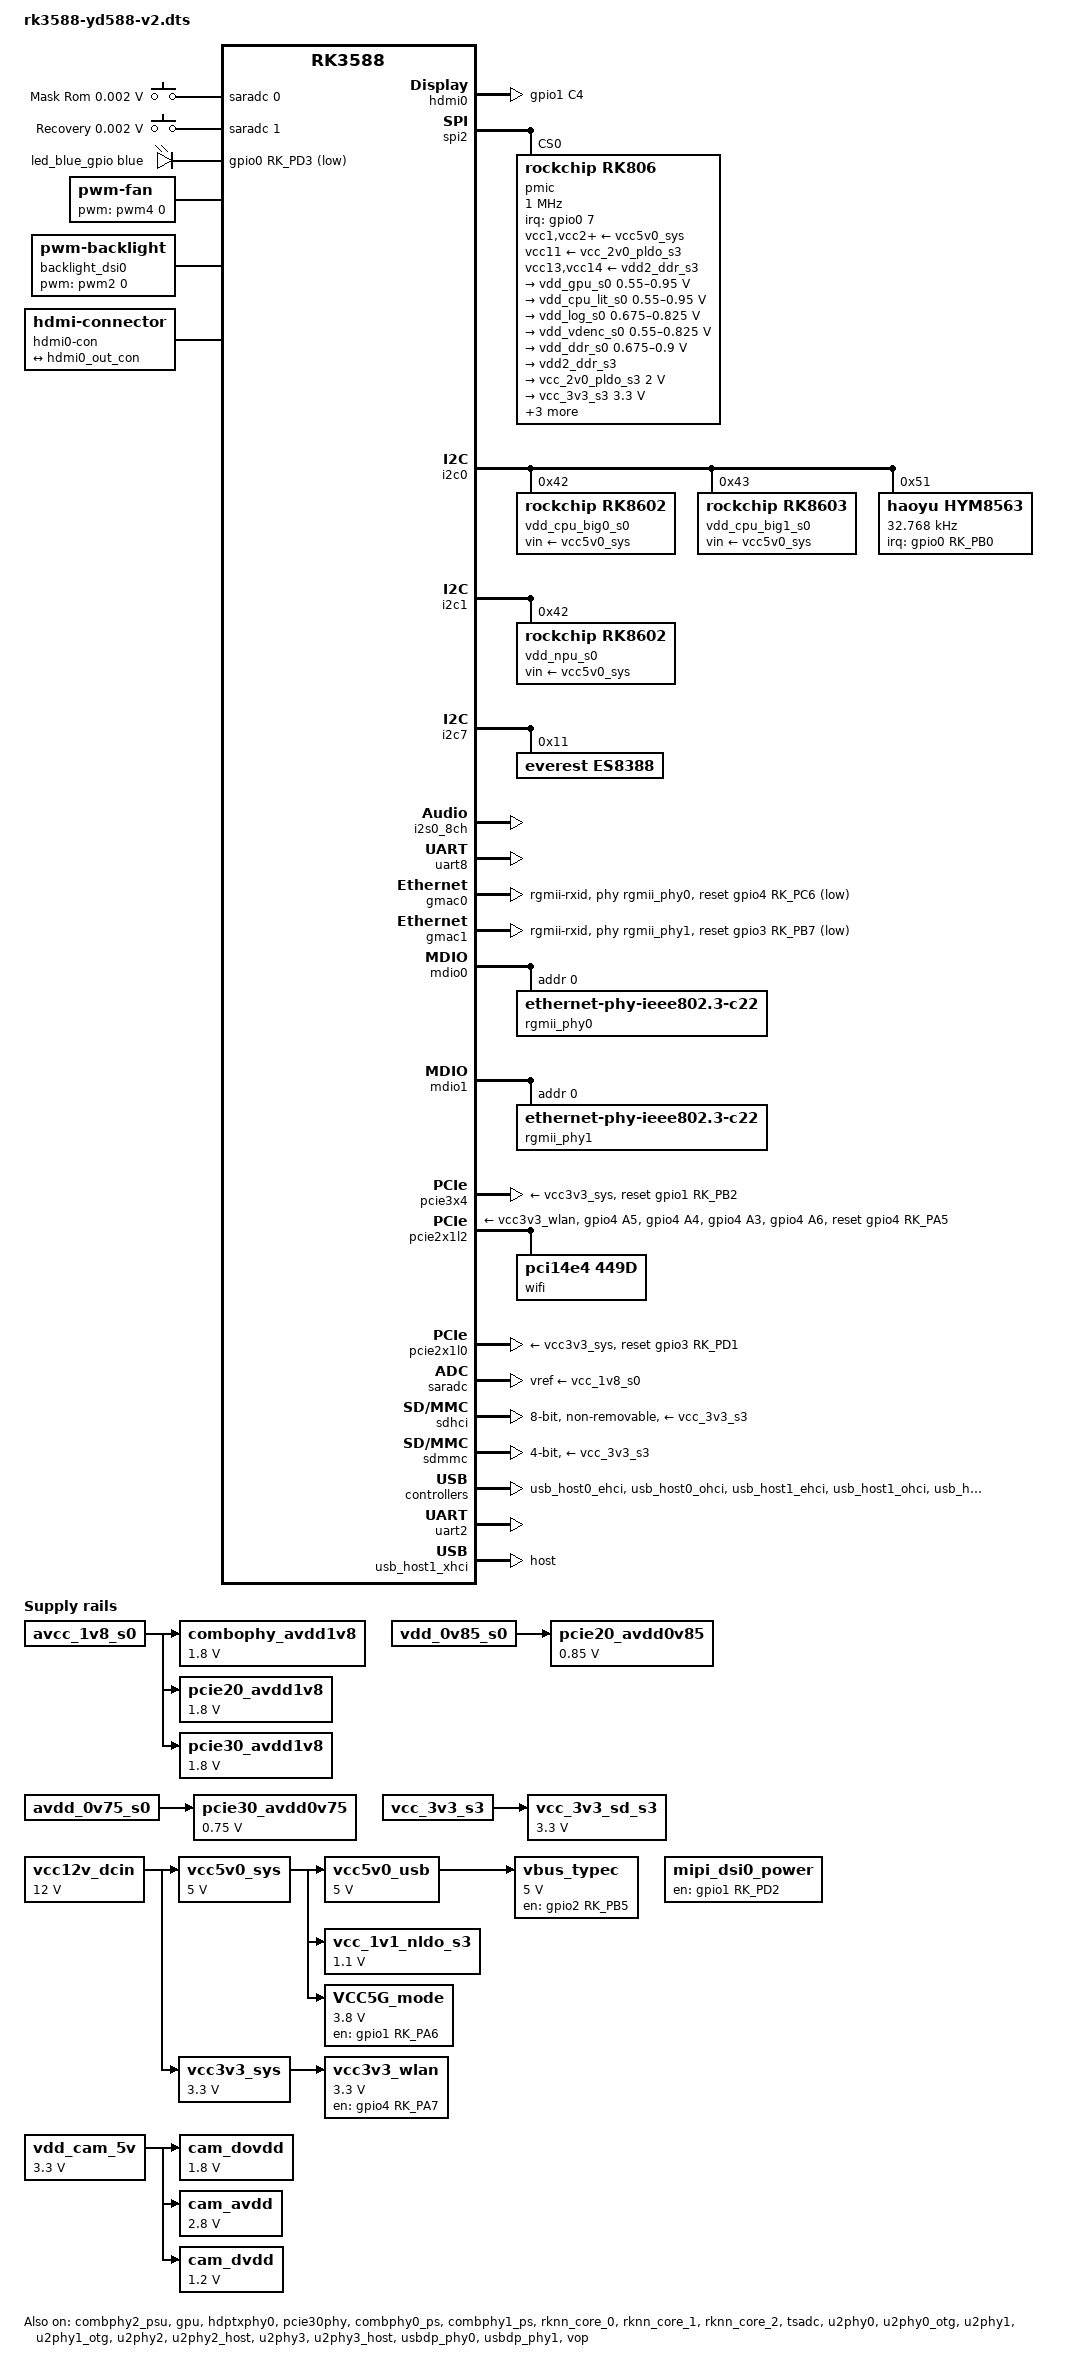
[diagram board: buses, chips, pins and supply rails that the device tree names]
// SPDX-License-Identifier: (GPL-2.0+ OR MIT)
/*
 * Copyright (c) 2023 Ondřej Jirman <megi@xff.cz>
 */

/dts-v1/;

#include <dt-bindings/gpio/gpio.h>
#include <dt-bindings/leds/common.h>
#include <dt-bindings/input/input.h>
#include <dt-bindings/pinctrl/rockchip.h>
#include <dt-bindings/soc/rockchip,vop2.h>
#include <dt-bindings/usb/pd.h>
#include "rk3588.dtsi"

/{
    aliases {
		mmc0 = &sdhci;
		mmc1 = &sdmmc;
		ethernet0 = &gmac0;
		ethernet1 = &gmac1;
	};

	chosen {
		stdout-path = "serial2:1500000n8";
	};

    adc-keys-0 {
		compatible = "adc-keys";
		io-channels = <&saradc 0>;
		io-channel-names = "buttons";
		keyup-threshold-microvolt = <1800000>;
		poll-interval = <100>;

		button-maskrom {
			label = "Mask Rom";
			linux,code = <KEY_SETUP>;
			press-threshold-microvolt = <2000>;
		};
	};

    recovery_button: adc-keys-1 {
		compatible = "adc-keys";
		io-channels = <&saradc 1>;
		io-channel-names = "buttons";
		keyup-threshold-microvolt = <1800000>;
		poll-interval = <100>;
		status = "okay";

		button-recovery {
			label = "Recovery";
			linux,code = <KEY_VENDOR>;
			press-threshold-microvolt = <2000>;
		};
	};

	analog-sound {
		compatible = "simple-audio-card";
		pinctrl-names = "default";
		simple-audio-card,name = "RK3588 EVB1 Audio";
		simple-audio-card,aux-devs = <&amp_headphone>, <&amp_speaker>;
		simple-audio-card,bitclock-master = <&masterdai>;
		simple-audio-card,format = "i2s";
		simple-audio-card,frame-master = <&masterdai>;
		simple-audio-card,mclk-fs = <256>;
		simple-audio-card,pin-switches = "Headphones", "Speaker";
		simple-audio-card,routing =
			"Speaker Amplifier INL", "LOUT2",
			"Speaker Amplifier INR", "ROUT2",
			"Speaker", "Speaker Amplifier OUTL",
			"Speaker", "Speaker Amplifier OUTR",
			"Headphones Amplifier INL", "LOUT1",
			"Headphones Amplifier INR", "ROUT1",
			"Headphones", "Headphones Amplifier OUTL",
			"Headphones", "Headphones Amplifier OUTR",
			"LINPUT1", "Onboard Microphone",
			"RINPUT1", "Onboard Microphone",
			"LINPUT2", "Microphone Jack",
			"RINPUT2", "Microphone Jack";
		simple-audio-card,widgets =
			"Microphone", "Microphone Jack",
			"Microphone", "Onboard Microphone",
			"Headphone", "Headphones",
			"Speaker", "Speaker";

		simple-audio-card,cpu {
			sound-dai = <&i2s0_8ch>;
		};

		masterdai: simple-audio-card,codec {
			sound-dai = <&es8388>;
			system-clock-frequency = <12288000>;
		};
	};

	amp_headphone: headphone-amplifier {
		compatible = "simple-audio-amplifier";
		sound-name-prefix = "Headphones Amplifier";
	};

	amp_speaker: speaker-amplifier {
		compatible = "simple-audio-amplifier";
		sound-name-prefix = "Speaker Amplifier";
	};

    gpio-leds {
		compatible = "gpio-leds";

		led_blue_gpio: led {
			color = <LED_COLOR_ID_BLUE>;
			linux,default-trigger = "heartbeat";
			default-state = "on";
			gpios = <&gpio0 RK_PD3 GPIO_ACTIVE_LOW>;
			function = LED_FUNCTION_INDICATOR;
			function-enumerator = <1>;
			status = "okay";
		};
	};

	fan: pwm-fan {
		compatible = "pwm-fan";
		#cooling-cells = <2>;
		pwms = <&pwm4 0 5000 0>;
		cooling-levels = <0 100 150 200 255>;
		rockchip,temp-trips = <
			35000	1
			40000	2
			45000	3
			50000	4
		>;
	};

	vcc12v_dcin: vcc12v-dcin {
		compatible = "regulator-fixed";
		regulator-always-on;
		regulator-boot-on;
		regulator-min-microvolt = <12000000>;
		regulator-max-microvolt = <12000000>;
		regulator-name = "vcc12v_dcin";
	};

	vcc5v0_sys: vcc5v0-sys {
		compatible = "regulator-fixed";
		regulator-name = "vcc5v0_sys";
		regulator-always-on;
		regulator-boot-on;
		regulator-min-microvolt = <5000000>;
		regulator-max-microvolt = <5000000>;
		vin-supply = <&vcc12v_dcin>;
	};

	vcc5v0_usb: vcc5v0-usb {
		compatible = "regulator-fixed";
		regulator-name = "vcc_5v0";
		regulator-always-on;
		regulator-boot-on;
		regulator-min-microvolt = <5000000>;
		regulator-max-microvolt = <5000000>;
		vin-supply = <&vcc5v0_sys>;
	};

	vcc3v3_sys: vcc3v3-sys {
		compatible = "regulator-fixed";
		regulator-name = "vcc3v3_sys";
		regulator-always-on;
		regulator-boot-on;
		regulator-min-microvolt = <3300000>;
		regulator-max-microvolt = <3300000>;
		vin-supply = <&vcc12v_dcin>;
	};

	vcc3v3_wlan: regulator-vcc3v3-wlan {
		compatible = "regulator-fixed";
		enable-active-high;
		gpios = <&gpio4 RK_PA7 GPIO_ACTIVE_HIGH>;
		pinctrl-names = "default";
		pinctrl-0 = <&wifi_pwren>;
		regulator-min-microvolt = <3300000>;
		regulator-max-microvolt = <3300000>;
		regulator-name = "wlan-en";
		vin-supply = <&vcc3v3_sys>;
	};

	combophy_avdd1v8: combophy-avdd1v8 {
		compatible = "regulator-fixed";
		regulator-name = "combophy_avdd1v8";
		regulator-boot-on;
		regulator-min-microvolt = <1800000>;
		regulator-max-microvolt = <1800000>;
		vin-supply = <&avcc_1v8_s0>;
	};

	vcc_1v1_nldo_s3: vcc-1v1-nldo-s3 {
		compatible = "regulator-fixed";
		regulator-name = "vcc_1v1_nldo_s3";
		regulator-always-on;
		regulator-boot-on;
		regulator-min-microvolt = <1100000>;
		regulator-max-microvolt = <1100000>;
		vin-supply = <&vcc5v0_sys>;
	};

	pcie20_avdd0v85: regulator-pcie20-avdd0v85 {
		compatible = "regulator-fixed";
		regulator-name = "pcie20_avdd0v85";
		regulator-always-on;
		regulator-boot-on;
		regulator-min-microvolt = <850000>;
		regulator-max-microvolt = <850000>;
		vin-supply = <&vdd_0v85_s0>;
	};

	pcie20_avdd1v8: regulator-pcie20-avdd1v8 {
		compatible = "regulator-fixed";
		regulator-name = "pcie20_avdd1v8";
		regulator-always-on;
		regulator-boot-on;
		regulator-min-microvolt = <1800000>;
		regulator-max-microvolt = <1800000>;
		vin-supply = <&avcc_1v8_s0>;
	};

	pcie30_avdd0v75: regulator-pcie30-avdd0v75 {
		compatible = "regulator-fixed";
		regulator-name = "pcie30_avdd0v75";
		regulator-always-on;
		regulator-boot-on;
		regulator-min-microvolt = <750000>;
		regulator-max-microvolt = <750000>;
		vin-supply = <&avdd_0v75_s0>;
	};

	pcie30_avdd1v8: regulator-pcie30-avdd1v8 {
		compatible = "regulator-fixed";
		regulator-name = "pcie30_avdd1v8";
		regulator-always-on;
		regulator-boot-on;
		regulator-min-microvolt = <1800000>;
		regulator-max-microvolt = <1800000>;
		vin-supply = <&avcc_1v8_s0>;
	};

	vcc_3v3_sd_s3: vcc-3v3-sd-s3 {
		compatible = "regulator-fixed";
		regulator-name = "vcc_3v3_sd_s3";
		regulator-always-on;
		regulator-boot-on;
		regulator-min-microvolt = <3300000>;
		regulator-max-microvolt = <3300000>;
		vin-supply = <&vcc_3v3_s3>;
	};

	vbus_typec: vbus-typec {
		compatible = "regulator-fixed";
		regulator-name = "vbus_typec";
		regulator-min-microvolt = <5000000>;
		regulator-max-microvolt = <5000000>;
		enable-active-high;
		gpio = <&gpio2 RK_PB5 GPIO_ACTIVE_HIGH>;
		vin-supply = <&vcc5v0_usb>;
		pinctrl-names = "default";
		pinctrl-0 = <&typec_vbus_en>;
	};

	VCC5G_mode: VCC5G_mode {
		compatible = "regulator-fixed";
		regulator-name = "vbus_typec";
		regulator-min-microvolt = <3800000>;
		regulator-max-microvolt = <3800000>;
		enable-active-high;
		regulator-always-on;
		regulator-boot-on;
		gpio = <&gpio1 RK_PA6 GPIO_ACTIVE_HIGH>;
		vin-supply = <&vcc5v0_sys>;
		pinctrl-names = "default";
		pinctrl-0 = <&VCC5G_mode_en>;
	};


	mipi_dsi0_power: mipi-dsi0-power-regulator {
		compatible = "regulator-fixed";
		regulator-name = "mipi_dsi0_power";
		gpio = <&gpio1 RK_PD2 GPIO_ACTIVE_HIGH>;
		enable-active-high;
		regulator-boot-on;
		regulator-always-on;
	};

	vdd_cam_5v: vdd-cam-5v-regulator {
		compatible = "regulator-fixed";
		regulator-name = "vdd_cam_5v";
		regulator-always-on;
		regulator-boot-on;
		regulator-min-microvolt = <3300000>;
		regulator-max-microvolt = <3300000>;
	};

	cam_dovdd: cam-dovdd {
		compatible = "regulator-fixed";
		regulator-name = "cam_dovdd";
		regulator-always-on;
		regulator-boot-on;
		regulator-min-microvolt = <1800000>;
		regulator-max-microvolt = <1800000>;
		vin-supply = <&vdd_cam_5v>;
	};

	cam_avdd: cam-avdd {
		compatible = "regulator-fixed";
		regulator-name = "cam_avdd";
		regulator-always-on;
		regulator-boot-on;
		regulator-min-microvolt = <2800000>;
		regulator-max-microvolt = <2800000>;
		vin-supply = <&vdd_cam_5v>;
	};

	cam_dvdd: cam-dvdd {
		compatible = "regulator-fixed";
		regulator-name = "cam_dvdd";
		regulator-always-on;
		regulator-boot-on;
		regulator-min-microvolt = <1200000>;
		regulator-max-microvolt = <1200000>;
		vin-supply = <&vdd_cam_5v>;
	};

	backlight_dsi0: backlight-dsi0 {
		status = "okay";
		compatible = "pwm-backlight";
		pwms = <&pwm2 0 25000 0>;
		brightness-levels = <
		0  20  20  21  21  22  22  23
		23  24  24  25  25  26  26  27
		27  28  28  29  29  30  30  31
		31  32  32  33  33  34  34  35
		35  36  36  37  37  38  38  39
		40  41  42  43  44  45  46  47
		48  49  50  51  52  53  54  55
		56  57  58  59  60  61  62  63
		64  65  66  67  68  69  70  71
		72  73  74  75  76  77  78  79
		80  81  82  83  84  85  86  87
		88  89  90  91  92  93  94  95
		96  97  98  99 100 101 102 103
		104 105 106 107 108 109 110 111
		112 113 114 115 116 117 118 119
		120 121 122 123 124 125 126 127
		128 129 130 131 132 133 134 135
		136 137 138 139 140 141 142 143
		144 145 146 147 148 149 150 151
		152 153 154 155 156 157 158 159
		160 161 162 163 164 165 166 167
		168 169 170 171 172 173 174 175
		176 177 178 179 180 181 182 183
		184 185 186 187 188 189 190 191
		192 193 194 195 196 197 198 199
		200 201 202 203 204 205 206 207
		208 209 210 211 212 213 214 215
		216 217 218 219 220 221 222 223
		224 225 226 227 228 229 230 231
		232 233 234 235 236 237 238 239
		240 241 242 243 244 245 246 247
		248 249 250 251 252 253 254 255
		>;
		default-brightness-level = <200>;
	};

	hdmi0-con {
		compatible = "hdmi-connector";
		type = "a";

		port {
			hdmi0_con_in: endpoint {
				remote-endpoint = <&hdmi0_out_con>;
			};
		};
	};
};

&combphy2_psu {
	status = "okay";
};

&cpu_b0 {
	cpu-supply = <&vdd_cpu_big0_s0>;
};

&cpu_b1 {
	cpu-supply = <&vdd_cpu_big0_s0>;
};

&cpu_b2 {
	cpu-supply = <&vdd_cpu_big1_s0>;
};

&cpu_b3 {
	cpu-supply = <&vdd_cpu_big1_s0>;
};

&cpu_l0 {
	cpu-supply = <&vdd_cpu_lit_s0>;
};

&cpu_l1 {
	cpu-supply = <&vdd_cpu_lit_s0>;
};

&cpu_l2 {
	cpu-supply = <&vdd_cpu_lit_s0>;
};

&cpu_l3 {
	cpu-supply = <&vdd_cpu_lit_s0>;
};

&gpu {
	mali-supply = <&vdd_gpu_s0>;
	status = "okay";
};

&hdmi0 {
	enable-gpios = <&gpio1 RK_PC4 GPIO_ACTIVE_HIGH>;
	pinctrl-0 = <&hdmim0_tx0_cec &hdmim0_tx0_hpd
		     &hdmim0_tx0_scl &hdmim0_tx0_sda &hdmi0_tx_on_h>;
	pinctrl-names = "default";
	status = "okay";
};

&hdmi0_in {
	hdmi0_in_vp0: endpoint {
		remote-endpoint = <&vp0_out_hdmi0>;
	};
};

&hdmi0_out {
	hdmi0_out_con: endpoint {
		remote-endpoint = <&hdmi0_con_in>;
	};
};

&hdptxphy0 {
	status = "okay";
};

&spi2 {
	assigned-clocks = <&cru CLK_SPI2>;
	assigned-clock-rates = <200000000>;
	num-cs = <1>;
	pinctrl-names = "default";
	pinctrl-0 = <&spi2m2_cs0 &spi2m2_pins>;
	status = "okay";

	pmic@0 {
		compatible = "rockchip,rk806";
		reg = <0x0>;
		interrupt-parent = <&gpio0>;
		interrupts = <7 IRQ_TYPE_LEVEL_LOW>;
		pinctrl-names = "default";
		pinctrl-0 = <&pmic_pins>, <&rk806_dvs1_null>,
			    <&rk806_dvs2_null>, <&rk806_dvs3_null>;
		spi-max-frequency = <1000000>;
		system-power-controller;

		vcc1-supply = <&vcc5v0_sys>;
		vcc2-supply = <&vcc5v0_sys>;
		vcc3-supply = <&vcc5v0_sys>;
		vcc4-supply = <&vcc5v0_sys>;
		vcc5-supply = <&vcc5v0_sys>;
		vcc6-supply = <&vcc5v0_sys>;
		vcc7-supply = <&vcc5v0_sys>;
		vcc8-supply = <&vcc5v0_sys>;
		vcc9-supply = <&vcc5v0_sys>;
		vcc10-supply = <&vcc5v0_sys>;
		vcc11-supply = <&vcc_2v0_pldo_s3>;
		vcc12-supply = <&vcc5v0_sys>;
		vcc13-supply = <&vdd2_ddr_s3>;
		vcc14-supply = <&vdd2_ddr_s3>;
		vcca-supply = <&vcc5v0_sys>;

		gpio-controller;
		#gpio-cells = <2>;

		rk806_dvs1_null: dvs1-null-pins {
			pins = "gpio_pwrctrl1";
			function = "pin_fun0";
		};

		rk806_dvs2_null: dvs2-null-pins {
			pins = "gpio_pwrctrl2";
			function = "pin_fun0";
		};

		rk806_dvs3_null: dvs3-null-pins {
			pins = "gpio_pwrctrl3";
			function = "pin_fun0";
		};

		regulators {
			vdd_gpu_s0: dcdc-reg1 {
				regulator-name = "vdd_gpu_s0";
				regulator-boot-on;
				regulator-enable-ramp-delay = <400>;
				regulator-min-microvolt = <550000>;
				regulator-max-microvolt = <950000>;
				regulator-ramp-delay = <12500>;

				regulator-state-mem {
					regulator-off-in-suspend;
				};
			};

			vdd_cpu_lit_s0: dcdc-reg2 {
				regulator-name = "vdd_cpu_lit_s0";
				regulator-always-on;
				regulator-boot-on;
				regulator-min-microvolt = <550000>;
				regulator-max-microvolt = <950000>;
				regulator-ramp-delay = <12500>;

				regulator-state-mem {
					regulator-off-in-suspend;
				};
			};

			vdd_log_s0: dcdc-reg3 {
				regulator-name = "vdd_log_s0";
				regulator-always-on;
				regulator-boot-on;
				regulator-min-microvolt = <675000>;
				regulator-max-microvolt = <825000>;
				regulator-ramp-delay = <12500>;

				regulator-state-mem {
					regulator-off-in-suspend;
					regulator-suspend-microvolt = <750000>;
				};
			};

			vdd_vdenc_s0: dcdc-reg4 {
				regulator-name = "vdd_vdenc_s0";
				regulator-always-on;
				regulator-boot-on;
				regulator-min-microvolt = <550000>;
				regulator-max-microvolt = <825000>;
				regulator-ramp-delay = <12500>;

				regulator-state-mem {
					regulator-off-in-suspend;
				};
			};

			vdd_ddr_s0: dcdc-reg5 {
				regulator-name = "vdd_ddr_s0";
				regulator-always-on;
				regulator-boot-on;
				regulator-min-microvolt = <675000>;
				regulator-max-microvolt = <900000>;
				regulator-ramp-delay = <12500>;

				regulator-state-mem {
					regulator-off-in-suspend;
					regulator-suspend-microvolt = <850000>;
				};
			};

			vdd2_ddr_s3: dcdc-reg6 {
				regulator-name = "vdd2_ddr_s3";
				regulator-always-on;
				regulator-boot-on;

				regulator-state-mem {
					regulator-on-in-suspend;
				};
			};

			vcc_2v0_pldo_s3: dcdc-reg7 {
				regulator-name = "vdd_2v0_pldo_s3";
				regulator-always-on;
				regulator-boot-on;
				regulator-min-microvolt = <2000000>;
				regulator-max-microvolt = <2000000>;
				regulator-ramp-delay = <12500>;

				regulator-state-mem {
					regulator-on-in-suspend;
					regulator-suspend-microvolt = <2000000>;
				};
			};

			vcc_3v3_s3: dcdc-reg8 {
				regulator-name = "vcc_3v3_s3";
				regulator-always-on;
				regulator-boot-on;
				regulator-min-microvolt = <3300000>;
				regulator-max-microvolt = <3300000>;

				regulator-state-mem {
					regulator-on-in-suspend;
					regulator-suspend-microvolt = <3300000>;
				};
			};

			vddq_ddr_s0: dcdc-reg9 {
				regulator-name = "vddq_ddr_s0";
				regulator-always-on;
				regulator-boot-on;

				regulator-state-mem {
					regulator-off-in-suspend;
				};
			};

			vcc_1v8_s3: dcdc-reg10 {
				regulator-name = "vcc_1v8_s3";
				regulator-always-on;
				regulator-boot-on;
				regulator-min-microvolt = <1800000>;
				regulator-max-microvolt = <1800000>;

				regulator-state-mem {
					regulator-on-in-suspend;
					regulator-suspend-microvolt = <1800000>;
				};
			};

			avcc_1v8_s0: pldo-reg1 {
				regulator-name = "avcc_1v8_s0";
				regulator-always-on;
				regulator-boot-on;
				regulator-min-microvolt = <1800000>;
				regulator-max-microvolt = <1800000>;

				regulator-state-mem {
					regulator-off-in-suspend;
					regulator-suspend-microvolt = <1800000>;
				};
			};

			/* shorted to avcc_1v8_s0 on the board */
			vcc_1v8_s0: pldo-reg2 {
				regulator-name = "vcc_1v8_s0";
				regulator-always-on;
				regulator-boot-on;
				regulator-min-microvolt = <1800000>;
				regulator-max-microvolt = <1800000>;

				regulator-state-mem {
					regulator-off-in-suspend;
					regulator-suspend-microvolt = <1800000>;
				};
			};

			avdd_1v2_s0: pldo-reg3 {
				regulator-name = "avdd_1v2_s0";
				regulator-always-on;
				regulator-boot-on;
				regulator-min-microvolt = <1200000>;
				regulator-max-microvolt = <1200000>;

				regulator-state-mem {
					regulator-off-in-suspend;
				};
			};

			vcc_3v3_s0: pldo-reg4 {
				regulator-name = "vcc_3v3_s0";
				regulator-always-on;
				regulator-boot-on;
				regulator-min-microvolt = <3300000>;
				regulator-max-microvolt = <3300000>;
				regulator-ramp-delay = <12500>;

				regulator-state-mem {
					regulator-off-in-suspend;
				};
			};

			vccio_sd_s0: pldo-reg5 {
				regulator-name = "vccio_sd_s0";
				regulator-always-on;
				regulator-boot-on;
				regulator-min-microvolt = <1800000>;
				regulator-max-microvolt = <3300000>;
				regulator-ramp-delay = <12500>;

				regulator-state-mem {
					regulator-off-in-suspend;
				};
			};

			pldo6_s3: pldo-reg6 {
				regulator-name = "pldo6_s3";
				regulator-always-on;
				regulator-boot-on;
				regulator-min-microvolt = <1800000>;
				regulator-max-microvolt = <1800000>;

				regulator-state-mem {
					regulator-on-in-suspend;
					regulator-suspend-microvolt = <1800000>;
				};
			};

			vdd_0v75_s3: nldo-reg1 {
				regulator-name = "vdd_0v75_s3";
				regulator-always-on;
				regulator-boot-on;
				regulator-min-microvolt = <750000>;
				regulator-max-microvolt = <750000>;

				regulator-state-mem {
					regulator-on-in-suspend;
					regulator-suspend-microvolt = <750000>;
				};
			};

			vdd_ddr_pll_s0: nldo-reg2 {
				regulator-name = "vdd_ddr_pll_s0";
				regulator-always-on;
				regulator-boot-on;
				regulator-min-microvolt = <850000>;
				regulator-max-microvolt = <850000>;

				regulator-state-mem {
					regulator-off-in-suspend;
					regulator-suspend-microvolt = <850000>;
				};
			};

			avdd_0v75_s0: nldo-reg3 {
				regulator-name = "avdd_0v75_s0";
				regulator-always-on;
				regulator-boot-on;
				/*
				 * The schematic mentions that actual setting
				 * should be 0.8375V. RK3588 datasheet specifies
				 * maximum as 0.825V. So we set datasheet max
				 * here.
				 */
				regulator-min-microvolt = <825000>;
				regulator-max-microvolt = <825000>;

				regulator-state-mem {
					regulator-off-in-suspend;
				};
			};

			vdd_0v85_s0: nldo-reg4 {
				regulator-name = "vdd_0v85_s0";
				regulator-always-on;
				regulator-boot-on;
				regulator-min-microvolt = <850000>;
				regulator-max-microvolt = <850000>;

				regulator-state-mem {
					regulator-off-in-suspend;
				};
			};

			vdd_0v75_s0: nldo-reg5 {
				regulator-name = "vdd_0v75_s0";
				regulator-always-on;
				regulator-boot-on;
				regulator-min-microvolt = <750000>;
				regulator-max-microvolt = <750000>;

				regulator-state-mem {
					regulator-off-in-suspend;
				};
			};
		};
	};
};


&i2c0 {
	pinctrl-names = "default";
	pinctrl-0 = <&i2c0m2_xfer>;
	status = "okay";

	vdd_cpu_big0_s0: regulator@42 {
		compatible = "rockchip,rk8602";
		reg = <0x42>;
		fcs,suspend-voltage-selector = <1>;
		regulator-name = "vdd_cpu_big0_s0";
		regulator-always-on;
		regulator-boot-on;
		regulator-min-microvolt = <550000>;
		regulator-max-microvolt = <1050000>;
		regulator-ramp-delay = <2300>;
		vin-supply = <&vcc5v0_sys>;

		regulator-state-mem {
			regulator-off-in-suspend;
		};
	};

	vdd_cpu_big1_s0: regulator@43 {
		compatible = "rockchip,rk8603", "rockchip,rk8602";
		reg = <0x43>;
		fcs,suspend-voltage-selector = <1>;
		regulator-name = "vdd_cpu_big1_s0";
		regulator-always-on;
		regulator-boot-on;
		regulator-min-microvolt = <550000>;
		regulator-max-microvolt = <1050000>;
		regulator-ramp-delay = <2300>;
		vin-supply = <&vcc5v0_sys>;

		regulator-state-mem {
			regulator-off-in-suspend;
		};
	};

	hym8563: hym8563@51 {
		compatible = "haoyu,hym8563";
		reg = <0x51>;
		#clock-cells = <0>;
		clock-frequency = <32768>;
		clock-output-names = "hym8563";
		pinctrl-names = "default";
		pinctrl-0 = <&hym8563_int>;
		interrupt-parent = <&gpio0>;
		interrupts = <RK_PB0 IRQ_TYPE_LEVEL_LOW>;
		wakeup-source;
	};

};

&i2c1 {
	pinctrl-names = "default";
	pinctrl-0 = <&i2c1m2_xfer>;
	status = "okay";

	vdd_npu_s0: regulator@42 {
		compatible = "rockchip,rk8602";
		reg = <0x42>;
		fcs,suspend-voltage-selector = <1>;
		regulator-name = "vdd_npu_s0";
		regulator-boot-on;
		regulator-min-microvolt = <550000>;
		regulator-max-microvolt = <950000>;
		regulator-ramp-delay = <2300>;
		vin-supply = <&vcc5v0_sys>;

		regulator-state-mem {
			regulator-off-in-suspend;
		};
	};
};

&i2c7 {
	pinctrl-names = "default";
	pinctrl-0 = <&i2c7m0_xfer>;
	status = "okay";

	es8388: audio-codec@11 {
		compatible = "everest,es8388", "everest,es8328";
		reg = <0x11>;
		clocks = <&cru I2S0_8CH_MCLKOUT>;
		assigned-clocks = <&cru I2S0_8CH_MCLKOUT>;
		assigned-clock-rates = <12288000>;
		#sound-dai-cells = <0>;
	};
};


&i2s0_8ch {
	pinctrl-names = "default";
	pinctrl-0 = <&i2s0_lrck
		     &i2s0_mclk
		     &i2s0_sclk
		     &i2s0_sdi0
		     &i2s0_sdo0>;
	status = "okay";
};

&uart8 {
	status = "okay";
	pinctrl-names = "default";
	pinctrl-0 = <&uart8m0_xfer &uart8m0_ctsn>;
};

&gmac0 {
	/* Use rgmii-rxid mode to disable rx delay inside Soc */
	phy-mode = "rgmii-rxid";
	clock_in_out = "output";

	snps,reset-gpio = <&gpio4 RK_PC6 GPIO_ACTIVE_LOW>;
	snps,reset-active-low;
	/* Reset time is 20ms, 100ms for rtl8211f */
	snps,reset-delays-us = <0 20000 100000>;

	pinctrl-names = "default";
	pinctrl-0 = <&gmac0_miim
			 &gmac0_tx_bus2
			 &gmac0_rx_bus2
			 &gmac0_rgmii_clk
			 &gmac0_rgmii_bus>;

	tx_delay = <0x20>;
	/* rx_delay = <0x4f>; */

	phy-handle = <&rgmii_phy0>;
	status = "okay";
};

&gmac1 {
	/* Use rgmii-rxid mode to disable rx delay inside Soc */
	phy-mode = "rgmii-rxid";
	clock_in_out = "output";

	snps,reset-gpio = <&gpio3 RK_PB7 GPIO_ACTIVE_LOW>;
	snps,reset-active-low;
	/* Reset time is 20ms, 100ms for rtl8211f */
	snps,reset-delays-us = <0 20000 100000>;

	pinctrl-names = "default";
	pinctrl-0 = <&gmac1_miim
			 &gmac1_tx_bus2
			 &gmac1_rx_bus2
			 &gmac1_rgmii_clk
			 &gmac1_rgmii_bus>;

	tx_delay = <0x20>;
	/* rx_delay = <0x4f>; */

	phy-handle = <&rgmii_phy1>;
	status = "okay";
};

&mdio0 {
	rgmii_phy0: phy@0 {
		compatible = "ethernet-phy-ieee802.3-c22";
		reg = <0x00>;
		realtek,clkout-disable;
	};
};

&mdio1 {
	rgmii_phy1: phy@0 {
		compatible = "ethernet-phy-ieee802.3-c22";
		reg = <0x0>;
		realtek,clkout-disable;
	};
};



//NVME
&pcie30phy {
	status = "okay";
};

&pcie3x4 {
	reset-gpios = <&gpio1 RK_PB2 GPIO_ACTIVE_HIGH>;
	vpcie3v3-supply = <&vcc3v3_sys>;
	status = "okay";
};


// WIFI

/* SATA30_HOST0/PCIe20x1_2 Combo PHY */
&combphy0_ps {
	status = "okay";
};

&pcie2x1l2 {
	pinctrl-names = "default";
	pinctrl-0 = <&pcie2_2_rst>, <&pcie2_2_wake>, <&pcie2_2_clkreq>, <&wifi_host_wake_irq>;
	reset-gpios = <&gpio4 RK_PA5 GPIO_ACTIVE_HIGH>;
	supports-clkreq;
	vpcie3v3-supply = <&vcc3v3_wlan>;
	status = "okay";

	pcie@0,0 {
		reg = <0x200000 0 0 0 0>;
		#address-cells = <3>;
		#size-cells = <2>;
		ranges;
		device_type = "pci";
		bus-range = <0x20 0x2f>;

		wifi: wifi@0,0 {
			compatible = "pci14e4,449d";
			reg = <0x210000 0 0 0 0>;
			clocks = <&hym8563>;
			clock-names = "lpo";
		};
	};
};


// // Mini-PCIe
/* SATA30_HOST1/PCIe20x1_0 Combo PHY */
&combphy1_ps {
	status = "okay";
};

&pcie2x1l0 {
	reset-gpios = <&gpio3 RK_PD1 GPIO_ACTIVE_HIGH>;
	disable-gpios = <&gpio3 RK_PC1 GPIO_ACTIVE_HIGH>;
	vpcie3v3-supply = <&vcc3v3_sys>;
	rockchip,skip-scan-in-resume;
	status = "okay";
};

&pd_gpu {
	domain-supply = <&vdd_gpu_s0>;
};

&pd_npu {
	domain-supply = <&vdd_npu_s0>;
};

&rknn_core_0 {
	npu-supply = <&vdd_npu_s0>;
	sram-supply = <&vdd_npu_s0>;
	status = "okay";
};

&rknn_core_1 {
	npu-supply = <&vdd_npu_s0>;
	sram-supply = <&vdd_npu_s0>;
	status = "okay";
};

&rknn_core_2 {
	npu-supply = <&vdd_npu_s0>;
	sram-supply = <&vdd_npu_s0>;
	status = "okay";
};

&rknn_mmu_0 {
	status = "okay";
};

&rknn_mmu_1 {
	status = "okay";
};

&rknn_mmu_2 {
	status = "okay";
};

&saradc {
	vref-supply = <&vcc_1v8_s0>;
	status = "okay";
};

&sdhci {
	bus-width = <8>;
	no-sdio;
	no-sd;
	non-removable;
	max-frequency = <200000000>;
	mmc-hs400-1_8v;
	mmc-hs400-enhanced-strobe;
	vmmc-supply = <&vcc_3v3_s3>;
	vqmmc-supply = <&vcc_1v8_s3>;
	status = "okay";
};

&sdmmc {
	bus-width = <4>;
	cap-sd-highspeed;
	disable-wp;
	max-frequency = <150000000>;
	no-sdio;
	no-mmc;
	sd-uhs-sdr104;
	vmmc-supply = <&vcc_3v3_s3>;
	vqmmc-supply = <&vccio_sd_s0>;
	status = "okay";
};





&tsadc {
	status = "okay";
};


/* USB2.0 PHY0 */
&u2phy0 {
	status = "okay";
};

&u2phy0_otg {
	rockchip,typec-vbus-det;
	status = "okay";
};

&u2phy1 {
	status = "okay";
};

&u2phy1_otg {
	status = "okay";
};

/* USB30_HOST2/SATA30_HOST2/PCIe20x1_1 Combo PHY */
&combphy2_psu {
	status = "okay";
};

/* USB3.1 HOST2 Controller  */
// &usbhost3_0 {
// 	status = "okay";
// };

// &usbhost_dwc3_0 {
// 	dr_mode = "host";
// 	status = "okay";
// };

/* USB2.0 HOST0 PHY2 */
&u2phy2 {
	status = "okay";
};

&u2phy2_host {
	phy-supply = <&vcc5v0_usb>;
	status = "okay";
};

/* USB2.0 HOST0 Controller */
&usb_host0_ehci {
	status = "okay";
};

&usb_host0_ohci {
	status = "okay";
};

/* USB2.0 HOST1 PHY3 */
&u2phy3 {
	status = "okay";
};

&u2phy3_host {
	phy-supply = <&vcc5v0_usb>;
	status = "okay";
};

/* USB2.0 HOST1 Controller */
&usb_host1_ehci {
	status = "okay";
};

&usb_host1_ohci {
	status = "okay";
};


&uart2 {
	pinctrl-0 = <&uart2m0_xfer>;
	pinctrl-names = "default";
	status = "okay";
};

&usbdp_phy0 {
	status = "okay";
};

&usbdp_phy1 {
	status = "okay";
};

&usb_host0_ehci {
	status = "okay";
};

&usb_host0_ohci {
	status = "okay";
};

&usb_host0_xhci {
	status = "okay";
};

&usb_host1_ehci {
	status = "okay";
};

&usb_host1_ohci {
	status = "okay";
};

&usb_host1_xhci {
	dr_mode = "host";
	status = "okay";
};

&vop {
	status = "okay";
};

&vop_mmu {
	status = "okay";
};

&vp0 {
	vp0_out_hdmi0: endpoint@ROCKCHIP_VOP2_EP_HDMI0 {
		reg = <ROCKCHIP_VOP2_EP_HDMI0>;
		remote-endpoint = <&hdmi0_in_vp0>;
	};
};


&pinctrl {
	hym8563 {
		hym8563_int: hym8563-int {
			rockchip,pins = <0 RK_PB0 RK_FUNC_GPIO &pcfg_pull_up>;
		};
	};

	wlan {
		wifi_host_wake_irq: wifi-host-wake-irq {
			rockchip,pins = <4 RK_PA6 RK_FUNC_GPIO &pcfg_pull_down>;
		};

		wifi_pwren: wifi-pwren {
			rockchip,pins = <4 RK_PA7 RK_FUNC_GPIO &pcfg_pull_up>;
		};
	};

	usb-typec {
		fusb302_int: fusb302-int {
			rockchip,pins = <0 RK_PB2 RK_FUNC_GPIO &pcfg_pull_up>;
		};

		typec_vbus_en: typec-vbus-en {
			rockchip,pins = <2 RK_PB5 RK_FUNC_GPIO &pcfg_pull_none>;
		};
	};

	vcc-5g-en{
		VCC5G_mode_en: VCC5G-mode-en {
			rockchip,pins = <1 RK_PA6 RK_FUNC_GPIO &pcfg_pull_none>;
		};
	};

	leds {
		sys_led_pin: sys-led-pin {
			rockchip,pins = <0 RK_PD3 RK_FUNC_GPIO &pcfg_pull_none>;
		};
	};

	pcie {
		pcie_disable_pin: pcie-disable-pin{
			rockchip,pins = <3 RK_PC1 RK_FUNC_GPIO &pcfg_pull_up>;
		};
	};

	pcie2 {
		pcie2_2_rst: pcie2-2-rst {
			rockchip,pins = <4 RK_PA5 RK_FUNC_GPIO &pcfg_pull_none>;
		};

		pcie2_2_wake: pcie2-2-wake {
			rockchip,pins = <4 RK_PA4 4 &pcfg_pull_none>;
		};

		pcie2_2_clkreq: pcie2-2-clkreq {
			rockchip,pins = <4 RK_PA3 4 &pcfg_pull_none>;
		};
	};

	dsi {
		dsi0_reset: dsi0-reset {
			rockchip,pins = <1 RK_PA4 RK_FUNC_GPIO &pcfg_pull_up>;
		};
	};

	hdmi {
		hdmi0_tx_on_h: hdmi0-tx-on-h {
			rockchip,pins = <1 RK_PC4 RK_FUNC_GPIO &pcfg_pull_none>;
		};
	};
};
